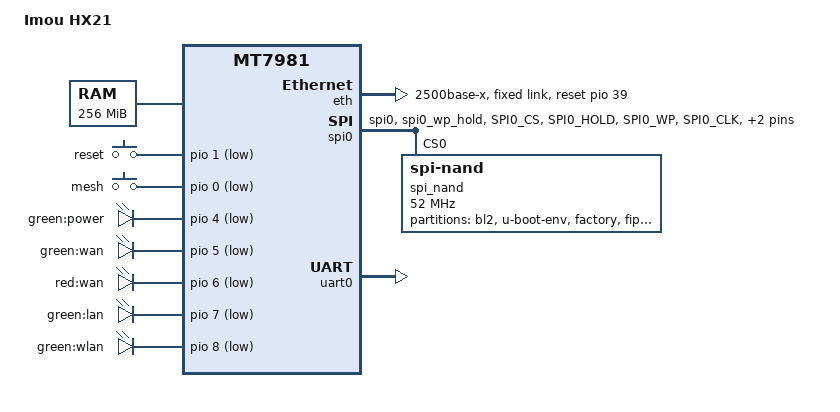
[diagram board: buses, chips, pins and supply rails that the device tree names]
// SPDX-License-Identifier: GPL-2.0-or-later

/dts-v1/;
#include "mt7981.dtsi"
#include <dt-bindings/gpio/gpio.h>
#include <dt-bindings/input/linux-event-codes.h>

/ {
	#address-cells = <1>;
	#size-cells = <1>;
	model = "Imou HX21";
	compatible = "imou,hx21", "mediatek,mt7981", "mediatek,mt7981-rfb";

	chosen {
		stdout-path = &uart0;
		tick-timer = &timer0;
	};

	memory@40000000 {
		device_type = "memory";
		reg = <0x40000000 0x10000000>;
	};

	gpio-keys {
		compatible = "gpio-keys";


		button-reset {
			label = "reset";
			linux,code = <KEY_RESTART>;
			gpios = <&pio 1 GPIO_ACTIVE_LOW>;
		};

		button-mesh {
			label = "mesh";
			linux,code = <BTN_9>;
			linux,input-type = <EV_SW>;
			gpios = <&pio 0 GPIO_ACTIVE_LOW>;
		};
	};

	gpio-leds {
		compatible = "gpio-leds";

		power_led: led-0 {
			label = "green:power";
			gpios = <&pio 4 GPIO_ACTIVE_LOW>;
			default-state = "on";
		};

		led-1 {
			label = "green:wan";
			gpios = <&pio 5 GPIO_ACTIVE_LOW>;
			default-state = "off";
		};

		led-2 {
			label = "red:wan";
			gpios = <&pio 6 GPIO_ACTIVE_LOW>;
			default-state = "off";
		};

		led-3 {
			label = "green:lan";
			gpios = <&pio 7 GPIO_ACTIVE_LOW>;
			default-state = "off";
		};

		led-4 {
			label = "green:wlan";
			gpios = <&pio 8 GPIO_ACTIVE_LOW>;
			default-state = "off";
		};
	};
};

&eth {
	status = "okay";
	mediatek,gmac-id = <0>;
	phy-mode = "2500base-x";
	mediatek,switch = "mt7531";
	reset-gpios = <&pio 39 GPIO_ACTIVE_HIGH>;

	fixed-link {
		speed = <2500>;
		full-duplex;
	};
};

&pio {
	spi_flash_pins: spi0-pins-func-1 {
		mux {
			function = "flash";
			groups = "spi0", "spi0_wp_hold";
		};

		conf-pu {
			pins = "SPI0_CS", "SPI0_HOLD", "SPI0_WP";
			drive-strength = <MTK_DRIVE_8mA>;
			bias-pull-up = <MTK_PUPD_SET_R1R0_00>;
		};

		conf-pd {
			pins = "SPI0_CLK", "SPI0_MOSI", "SPI0_MISO";
			drive-strength = <MTK_DRIVE_8mA>;
			bias-pull-down = <MTK_PUPD_SET_R1R0_00>;
		};
	};
};

&spi0 {
	#address-cells = <1>;
	#size-cells = <0>;
	pinctrl-names = "default";
	pinctrl-0 = <&spi_flash_pins>;
	status = "okay";
	must_tx;
	enhance_timing;
	dma_ext;
	ipm_design;
	support_quad;
	tick_dly = <2>;
	sample_sel = <0>;

	spi_nand@0 {
		compatible = "spi-nand";
		reg = <0>;
		spi-max-frequency = <52000000>;

		partitions {
			compatible = "fixed-partitions";
			#address-cells = <1>;
			#size-cells = <1>;

			partition@0 {
				label = "bl2";
				reg = <0x00000 0x0100000>;
			};

			partition@100000 {
				label = "u-boot-env";
				reg = <0x0100000 0x0080000>;
			};

			partition@180000 {
				label = "factory";
				reg = <0x180000 0x0200000>;
			};

			partition@380000 {
				label = "fip";
				reg = <0x380000 0x0200000>;
			};

			partition@580000 {
				label = "ubi";
				reg = <0x580000 0x7a80000>;
				compatible = "linux,ubi";
			};
		};
	};
};

&uart0 {
	mediatek,force-highspeed;
	status = "okay";
};

&watchdog {
	status = "disabled";
};
